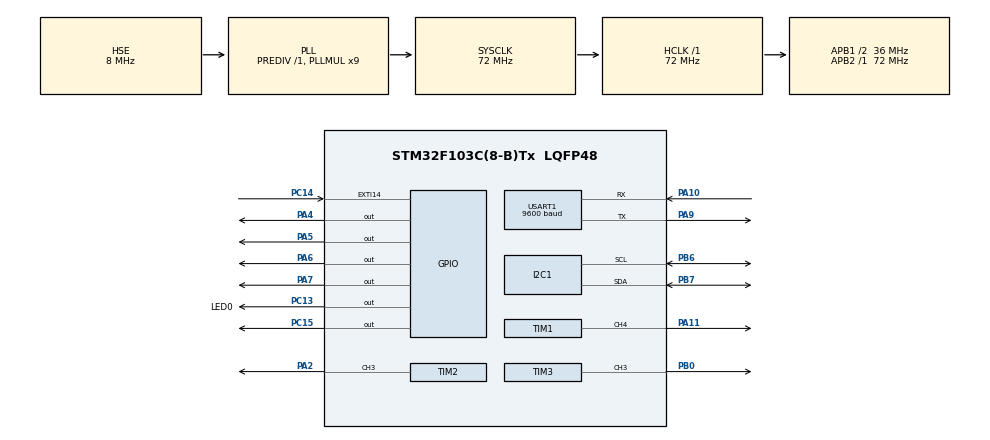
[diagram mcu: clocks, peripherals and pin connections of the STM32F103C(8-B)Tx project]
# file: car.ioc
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Mcu.Family=STM32F1
Mcu.Name=STM32F103C(8-B)Tx
Mcu.Package=LQFP48
NVIC.EXTI15_10_IRQn=true\:0\:0\:false\:false\:true\:true\:true
NVIC.PriorityGroup=NVIC_PRIORITYGROUP_4
NVIC.USART1_IRQn=true\:0\:0\:false\:false\:true\:true\:true
PA10.Mode=Asynchronous
PA10.Signal=USART1_RX
PA11.Signal=S_TIM1_CH4
PA13.Mode=Serial_Wire
PA13.Signal=SYS_JTMS-SWDIO
PA14.Mode=Serial_Wire
PA14.Signal=SYS_JTCK-SWCLK
PA2.Signal=S_TIM2_CH3
PA4.GPIO_Speed=GPIO_SPEED_FREQ_HIGH
PA4.Signal=GPIO_Output
PA5.GPIO_Speed=GPIO_SPEED_FREQ_HIGH
PA5.Signal=GPIO_Output
PA6.GPIO_Speed=GPIO_SPEED_FREQ_HIGH
PA6.Signal=GPIO_Output
PA7.GPIO_Speed=GPIO_SPEED_FREQ_HIGH
PA7.Signal=GPIO_Output
PA9.Mode=Asynchronous
PA9.Signal=USART1_TX
PB0.Signal=S_TIM3_CH3
PB6.Mode=I2C
PB6.Signal=I2C1_SCL
PB7.Mode=I2C
PB7.Signal=I2C1_SDA
PC13-TAMPER-RTC.GPIO_Label=LED0
PC13-TAMPER-RTC.Signal=GPIO_Output
PC14-OSC32_IN.GPIO_ModeDefaultEXTI=GPIO_MODE_IT_RISING_FALLING
PC14-OSC32_IN.Signal=GPXTI14
PC15-OSC32_OUT.Signal=GPIO_Output
PD0-OSC_IN.Mode=HSE-External-Oscillator
PD0-OSC_IN.Signal=RCC_OSC_IN
PD1-OSC_OUT.Mode=HSE-External-Oscillator
PD1-OSC_OUT.Signal=RCC_OSC_OUT
ProjectManager.HeapSize=0x200
ProjectManager.StackSize=0x400
ProjectManager.TargetToolchain=MDK-ARM V5.32
RCC.AHBFreq_Value=72000000
RCC.APB1CLKDivider=RCC_HCLK_DIV2
RCC.APB1Freq_Value=36000000
RCC.APB1TimFreq_Value=72000000
RCC.APB2Freq_Value=72000000
RCC.APB2TimFreq_Value=72000000
RCC.HCLKFreq_Value=72000000
RCC.PLLMUL=RCC_PLL_MUL9
RCC.PLLSourceVirtual=RCC_PLLSOURCE_HSE
RCC.SYSCLKFreq_VALUE=72000000
RCC.SYSCLKSource=RCC_SYSCLKSOURCE_PLLCLK
RCC.USBFreq_Value=72000000
SH.S_TIM1_CH4.0=TIM1_CH4,PWM Generation4 CH4
SH.S_TIM2_CH3.0=TIM2_CH3,PWM Generation3 CH3
SH.S_TIM3_CH3.0=TIM3_CH3,PWM Generation3 CH3
TIM1.Channel-PWM\ Generation4\ CH4=TIM_CHANNEL_4
TIM1.ClockDivision=TIM_CLOCKDIVISION_DIV1
TIM1.Period=100
TIM1.Prescaler=36-1
TIM2.Channel-PWM\ Generation3\ CH3=TIM_CHANNEL_3
TIM2.Period=100-1
TIM2.Prescaler=36-1
TIM2.Pulse-PWM\ Generation3\ CH3=0
TIM3.Channel-PWM\ Generation3\ CH3=TIM_CHANNEL_3
TIM3.Period=20000-1
TIM3.Prescaler=72-1
TIM4.AutoReloadPreload=TIM_AUTORELOAD_PRELOAD_ENABLE
TIM4.Prescaler=72-1
USART1.BaudRate=9600
USART1.VirtualMode=VM_ASYNC
VP_TIM1_VS_ClockSourceINT.Mode=Internal
VP_TIM2_VS_ClockSourceINT.Mode=Internal
VP_TIM3_VS_ClockSourceINT.Mode=Internal
VP_TIM4_VS_ClockSourceINT.Mode=Internal
board=custom

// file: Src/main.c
/* USER CODE BEGIN Header */
/**
  ******************************************************************************
  * @file           : main.c
  * @brief          : Main program body
  ******************************************************************************
  * @attention
  *
  * <h2><center>&copy; Copyright (c) 2024 STMicroelectronics.
  * All rights reserved.</center></h2>
  *
  * This software component is licensed by ST under BSD 3-Clause license,
  * the "License"; You may not use this file except in compliance with the
  * License. You may obtain a copy of the License at:
  *                        opensource.org/licenses/BSD-3-Clause
  *
  ******************************************************************************
  */
/* USER CODE END Header */
#include "main.h"
#include "i2c.h"
#include "tim.h"
#include "usart.h"
#include "gpio.h"

/* USER CODE BEGIN Includes */
#include "led.h"
#include "servo.h"
#include "oled.h"
#include "motor.h"
#include "bluetooth.h"
#include "sr04.h"
/* USER CODE END Includes */

void SystemClock_Config(void);

int main(void)
{

  /* MCU Configuration--------------------------------------------------------*/

  /* Reset of all peripherals, Initializes the Flash interface and the Systick. */
  HAL_Init();

  /* Configure the system clock */
  SystemClock_Config();

  /* Initialize all configured peripherals */
  MX_GPIO_Init();
  MX_I2C1_Init();
  MX_TIM2_Init();
  MX_TIM3_Init();
  MX_USART1_UART_Init();
  MX_TIM1_Init();
  MX_TIM4_Init();
  /* USER CODE BEGIN 2 */
	MOTOR_Init();
	SERVO_Init();
	Bluetooth_Init();

	OLED_Init();
	OLED_Display_On();
	OLED_Clear();

  /* USER CODE END 2 */

  /* Infinite loop */
  /* USER CODE BEGIN WHILE */
	uint8_t a[]="silver_yin";
	OLED_ShowString(0,0,a,sizeof(a));

	uint8_t b[]="dis:";
	uint8_t cm[]="cm";
	OLED_ShowString(10,10,b,sizeof(b));
	OLED_ShowString(60,10,cm,sizeof(cm));

	while (1)
  {
			LED0_TOGGLE();
			HAL_Delay(99);
			Trigger_signal();

    /* USER CODE END WHILE */

  }
}

void SystemClock_Config(void)
{
  RCC_OscInitTypeDef RCC_OscInitStruct = {0};
  RCC_ClkInitTypeDef RCC_ClkInitStruct = {0};

  /** Initializes the RCC Oscillators according to the specified parameters
  * in the RCC_OscInitTypeDef structure.
  */
  RCC_OscInitStruct.OscillatorType = RCC_OSCILLATORTYPE_HSE;
  RCC_OscInitStruct.HSEState = RCC_HSE_ON;
  RCC_OscInitStruct.HSEPredivValue = RCC_HSE_PREDIV_DIV1;
  RCC_OscInitStruct.HSIState = RCC_HSI_ON;
  RCC_OscInitStruct.PLL.PLLState = RCC_PLL_ON;
  RCC_OscInitStruct.PLL.PLLSource = RCC_PLLSOURCE_HSE;
  RCC_OscInitStruct.PLL.PLLMUL = RCC_PLL_MUL9;
  if (HAL_RCC_OscConfig(&RCC_OscInitStruct) != HAL_OK)
  {
    Error_Handler();
  }
  /** Initializes the CPU, AHB and APB buses clocks
  */
  RCC_ClkInitStruct.ClockType = RCC_CLOCKTYPE_HCLK|RCC_CLOCKTYPE_SYSCLK
                              |RCC_CLOCKTYPE_PCLK1|RCC_CLOCKTYPE_PCLK2;
  RCC_ClkInitStruct.SYSCLKSource = RCC_SYSCLKSOURCE_PLLCLK;
  RCC_ClkInitStruct.AHBCLKDivider = RCC_SYSCLK_DIV1;
  RCC_ClkInitStruct.APB1CLKDivider = RCC_HCLK_DIV2;
  RCC_ClkInitStruct.APB2CLKDivider = RCC_HCLK_DIV1;

  if (HAL_RCC_ClockConfig(&RCC_ClkInitStruct, FLASH_LATENCY_2) != HAL_OK)
  {
    Error_Handler();
  }
}

void Error_Handler(void)
{
  __disable_irq();
  while (1)
  {
  }
}

/************************ (C) COPYRIGHT STMicroelectronics *****END OF FILE****/
